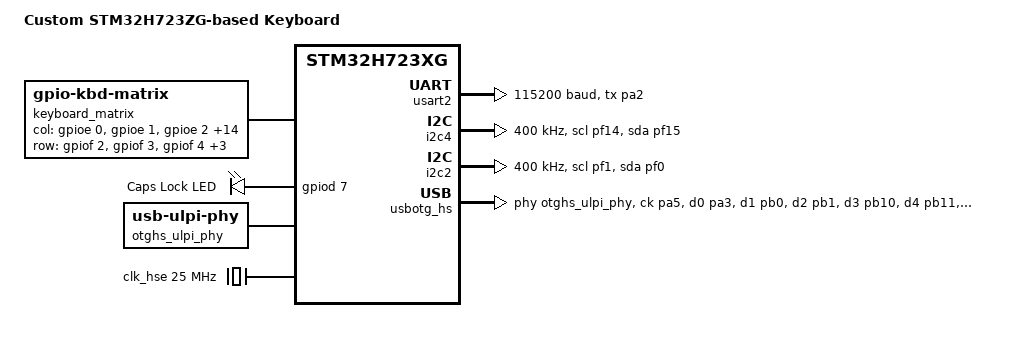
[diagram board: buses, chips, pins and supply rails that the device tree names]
/*
 * Copyright (c) 2026 Lawrence Langat <lawrencelangatmi@gmail.com>
 * SPDX-License-Identifier: Apache-2.0
 */

/dts-v1/;
#include <st/h7/stm32h723Xg.dtsi>
#include <st/h7/stm32h723zgtx-pinctrl.dtsi>
#include <zephyr/dt-bindings/input/input-event-codes.h>
#include <zephyr/dt-bindings/input/keymap.h>

/ {
	model = "Custom STM32H723ZG-based Keyboard";
	compatible = "generic,keyboard_h723zg";

	chosen {
		zephyr,console = &usart2;
		zephyr,shell-uart = &usart2;
		zephyr,sram = &sram0;
		zephyr,flash = &flash0;
		zephyr,dtcm = &dtcm;
	};

	keyboard_matrix: keyboard_matrix {
		compatible = "gpio-kbd-matrix";

		col-gpios = <&gpioe 0 GPIO_ACTIVE_HIGH>,
			    <&gpioe 1 GPIO_ACTIVE_HIGH>,
			    <&gpioe 2 GPIO_ACTIVE_HIGH>,
			    <&gpioe 3 GPIO_ACTIVE_HIGH>,
			    <&gpioe 4 GPIO_ACTIVE_HIGH>,
			    <&gpioe 5 GPIO_ACTIVE_HIGH>,
			    <&gpioe 6 GPIO_ACTIVE_HIGH>,
			    <&gpioe 7 GPIO_ACTIVE_HIGH>,
			    <&gpioe 8 GPIO_ACTIVE_HIGH>,
			    <&gpioe 9 GPIO_ACTIVE_HIGH>,
			    <&gpioe 10 GPIO_ACTIVE_HIGH>,
			    <&gpioe 11 GPIO_ACTIVE_HIGH>,
			    <&gpioe 12 GPIO_ACTIVE_HIGH>,
			    <&gpioe 13 GPIO_ACTIVE_HIGH>,
			    <&gpioe 14 GPIO_ACTIVE_HIGH>,
			    <&gpioe 15 GPIO_ACTIVE_HIGH>,
			    <&gpiof 13 GPIO_ACTIVE_HIGH>;

		row-gpios = <&gpiof 2 (GPIO_PULL_DOWN | GPIO_ACTIVE_HIGH)>,
			    <&gpiof 3 (GPIO_PULL_DOWN | GPIO_ACTIVE_HIGH)>,
			    <&gpiof 4 (GPIO_PULL_DOWN | GPIO_ACTIVE_HIGH)>,
			    <&gpiof 5 (GPIO_PULL_DOWN | GPIO_ACTIVE_HIGH)>,
			    <&gpiof 10 (GPIO_PULL_DOWN | GPIO_ACTIVE_HIGH)>,
			    <&gpiof 11 (GPIO_PULL_DOWN | GPIO_ACTIVE_HIGH)>;

		/* Use polling mode - required for STM32 with limited interrupt support */
		idle-mode = "poll";
		poll-period-ms = <5>;
		debounce-down-ms = <10>;
		debounce-up-ms = <20>;
		col-drive-inactive;
		no-ghostkey-check;

		keymap {
			compatible = "input-keymap";
			row-size = <6>;
			col-size = <17>;

			/*
			 * Keymap based on ZMK matrix transform:
			 * Row 0: Esc, F1-F12, (gap at 13), PrtSc, ScrLk, Pause
			 * Row 1: `, 1-0, -, =, Backspace, Ins, Home, PgUp
			 * Row 2: Tab, Q-P, [, ], \, Del, End, PgDn
			 * Row 3: CapsLock, A-L, ;, ', Enter
			 * Row 4: LShift, Z-M, ,, ., /, RShift, (gap), Up
			 * Row 5: LCtrl, LWin, LAlt, (gaps), Space, (gaps), RAlt, RWin, Menu, RCtrl, Left, Down, Right
			 */
			keymap = <
				/* Row 0: Function row */
				MATRIX_KEY(0, 0, INPUT_KEY_ESC)
				MATRIX_KEY(0, 1, INPUT_KEY_F1)
				MATRIX_KEY(0, 2, INPUT_KEY_F2)
				MATRIX_KEY(0, 3, INPUT_KEY_F3)
				MATRIX_KEY(0, 4, INPUT_KEY_F4)
				MATRIX_KEY(0, 5, INPUT_KEY_F5)
				MATRIX_KEY(0, 6, INPUT_KEY_F6)
				MATRIX_KEY(0, 7, INPUT_KEY_F7)
				MATRIX_KEY(0, 8, INPUT_KEY_F8)
				MATRIX_KEY(0, 9, INPUT_KEY_F9)
				MATRIX_KEY(0, 10, INPUT_KEY_F10)
				MATRIX_KEY(0, 11, INPUT_KEY_F11)
				MATRIX_KEY(0, 12, INPUT_KEY_F12)
				/* Col 13 is gap */
				MATRIX_KEY(0, 14, INPUT_KEY_SYSRQ)
				MATRIX_KEY(0, 15, INPUT_KEY_SCROLLLOCK)
				MATRIX_KEY(0, 16, INPUT_KEY_PAUSE)

				/* Row 1: Number row */
				MATRIX_KEY(1, 0, INPUT_KEY_GRAVE)
				MATRIX_KEY(1, 1, INPUT_KEY_1)
				MATRIX_KEY(1, 2, INPUT_KEY_2)
				MATRIX_KEY(1, 3, INPUT_KEY_3)
				MATRIX_KEY(1, 4, INPUT_KEY_4)
				MATRIX_KEY(1, 5, INPUT_KEY_5)
				MATRIX_KEY(1, 6, INPUT_KEY_6)
				MATRIX_KEY(1, 7, INPUT_KEY_7)
				MATRIX_KEY(1, 8, INPUT_KEY_8)
				MATRIX_KEY(1, 9, INPUT_KEY_9)
				MATRIX_KEY(1, 10, INPUT_KEY_0)
				MATRIX_KEY(1, 11, INPUT_KEY_MINUS)
				MATRIX_KEY(1, 12, INPUT_KEY_EQUAL)
				MATRIX_KEY(1, 13, INPUT_KEY_BACKSPACE)
				MATRIX_KEY(1, 14, INPUT_KEY_INSERT)
				MATRIX_KEY(1, 15, INPUT_KEY_HOME)
				MATRIX_KEY(1, 16, INPUT_KEY_PAGEUP)

				/* Row 2: QWERTY row */
				MATRIX_KEY(2, 0, INPUT_KEY_TAB)
				MATRIX_KEY(2, 1, INPUT_KEY_Q)
				MATRIX_KEY(2, 2, INPUT_KEY_W)
				MATRIX_KEY(2, 3, INPUT_KEY_E)
				MATRIX_KEY(2, 4, INPUT_KEY_R)
				MATRIX_KEY(2, 5, INPUT_KEY_T)
				MATRIX_KEY(2, 6, INPUT_KEY_Y)
				MATRIX_KEY(2, 7, INPUT_KEY_U)
				MATRIX_KEY(2, 8, INPUT_KEY_I)
				MATRIX_KEY(2, 9, INPUT_KEY_O)
				MATRIX_KEY(2, 10, INPUT_KEY_P)
				MATRIX_KEY(2, 11, INPUT_KEY_LEFTBRACE)
				MATRIX_KEY(2, 12, INPUT_KEY_RIGHTBRACE)
				MATRIX_KEY(2, 13, INPUT_KEY_BACKSLASH)
				MATRIX_KEY(2, 14, INPUT_KEY_DELETE)
				MATRIX_KEY(2, 15, INPUT_KEY_END)
				MATRIX_KEY(2, 16, INPUT_KEY_PAGEDOWN)

				/* Row 3: Home row */
				MATRIX_KEY(3, 0, INPUT_KEY_CAPSLOCK)
				MATRIX_KEY(3, 1, INPUT_KEY_A)
				MATRIX_KEY(3, 2, INPUT_KEY_S)
				MATRIX_KEY(3, 3, INPUT_KEY_D)
				MATRIX_KEY(3, 4, INPUT_KEY_F)
				MATRIX_KEY(3, 5, INPUT_KEY_G)
				MATRIX_KEY(3, 6, INPUT_KEY_H)
				MATRIX_KEY(3, 7, INPUT_KEY_J)
				MATRIX_KEY(3, 8, INPUT_KEY_K)
				MATRIX_KEY(3, 9, INPUT_KEY_L)
				MATRIX_KEY(3, 10, INPUT_KEY_SEMICOLON)
				MATRIX_KEY(3, 11, INPUT_KEY_APOSTROPHE)
				MATRIX_KEY(3, 12, INPUT_KEY_ENTER)

				/* Row 4: Shift row */
				MATRIX_KEY(4, 0, INPUT_KEY_LEFTSHIFT)
				MATRIX_KEY(4, 1, INPUT_KEY_Z)
				MATRIX_KEY(4, 2, INPUT_KEY_X)
				MATRIX_KEY(4, 3, INPUT_KEY_C)
				MATRIX_KEY(4, 4, INPUT_KEY_V)
				MATRIX_KEY(4, 5, INPUT_KEY_B)
				MATRIX_KEY(4, 6, INPUT_KEY_N)
				MATRIX_KEY(4, 7, INPUT_KEY_M)
				MATRIX_KEY(4, 8, INPUT_KEY_COMMA)
				MATRIX_KEY(4, 9, INPUT_KEY_DOT)
				MATRIX_KEY(4, 10, INPUT_KEY_SLASH)
				MATRIX_KEY(4, 11, INPUT_KEY_RIGHTSHIFT)
				MATRIX_KEY(4, 12, INPUT_KEY_RIGHTSHIFT)
				/* Col 13, 14 are gaps */
				MATRIX_KEY(4, 15, INPUT_KEY_UP)

				/* Row 5: Bottom row */
				MATRIX_KEY(5, 0, INPUT_KEY_LEFTCTRL)
				MATRIX_KEY(5, 1, INPUT_KEY_LEFTMETA)
				MATRIX_KEY(5, 2, INPUT_KEY_LEFTALT)
				/* Cols 3-5 are gaps under space */
				MATRIX_KEY(5, 6, INPUT_KEY_SPACE)
				/* Cols 7-9 are gaps under space */
				MATRIX_KEY(5, 10, INPUT_KEY_RIGHTALT)
				MATRIX_KEY(5, 11, INPUT_KEY_RIGHTMETA)
				MATRIX_KEY(5, 12, INPUT_KEY_COMPOSE)
				MATRIX_KEY(5, 13, INPUT_KEY_RIGHTCTRL)
				MATRIX_KEY(5, 14, INPUT_KEY_LEFT)
				MATRIX_KEY(5, 15, INPUT_KEY_DOWN)
				MATRIX_KEY(5, 16, INPUT_KEY_RIGHT)
			>;
		};
	};

    leds {
        compatible = "gpio-leds";
        caps_lock_led: led_caps {
            gpios = <&gpiod 7 GPIO_ACTIVE_HIGH>;
            label = "Caps Lock LED";
        };
    };

	otghs_ulpi_phy: otghs_ulpis_phy {
		compatible = "usb-ulpi-phy";
		#phy-cells = <0>;
	};

	aliases {
		led0 = &caps_lock_led;
	};
};

&clk_lsi {
	status = "okay";
};

&clk_hse {
	clock-frequency = <DT_FREQ_M(25)>;
	status = "okay";
};

&clk_hsi48 {
	status = "okay";
};

&pll {
	div-m = <5>;
	mul-n = <110>;
	div-p = <1>;
	div-q = <5>;
	div-r = <2>;
	clocks = <&clk_hse>;
	status = "okay";
};

&rcc {
	clocks = <&pll>;
	clock-frequency = <DT_FREQ_M(550)>;
	d1cpre = <1>;
	hpre = <2>;    /* HCLK: 275   MHz */
	d1ppre = <2>;  /* APB1: 137.5 MHz */
	d2ppre1 = <2>; /* APB2: 137.5 MHz */
	d2ppre2 = <2>; /* APB3: 137.5 MHz */
	d3ppre = <2>;  /* APB4: 137.5 MHz */
};

&pwr {
	power-supply = "ldo";
};

&usart2 {
	pinctrl-0 = <&usart2_tx_pa2>;
	pinctrl-names = "default";
	current-speed = <115200>;
	status = "okay";
};

&rtc {
	status = "disabled";
};

&i2c4 {
	pinctrl-0 = <&i2c4_scl_pf14 &i2c4_sda_pf15>;
	pinctrl-names = "default";
	status = "okay";
	clock-frequency = <I2C_BITRATE_FAST>;
};

&i2c2 {
	pinctrl-0 = <&i2c2_scl_pf1 &i2c2_sda_pf0>;
	pinctrl-names = "default";
	status = "okay";
	clock-frequency = <I2C_BITRATE_FAST>;
};

zephyr_udc0: &usbotg_hs {
	status = "okay";
	pinctrl-0 = <&usb_otg_hs_ulpi_ck_pa5
		     &usb_otg_hs_ulpi_d0_pa3
		     &usb_otg_hs_ulpi_d1_pb0
		     &usb_otg_hs_ulpi_d2_pb1
		     &usb_otg_hs_ulpi_d3_pb10
		     &usb_otg_hs_ulpi_d4_pb11
		     &usb_otg_hs_ulpi_d5_pb12
		     &usb_otg_hs_ulpi_d6_pb13
		     &usb_otg_hs_ulpi_d7_pb5
		     &usb_otg_hs_ulpi_stp_pc0
		     &usb_otg_hs_ulpi_dir_pc2_c
		     &usb_otg_hs_ulpi_nxt_pc3_c>;
	pinctrl-names = "default";
	maximum-speed = "high-speed";
	/* Enable OTGHSULPIEN rather than OTGHSEN */
	clocks = <&rcc STM32_CLOCK_BUS_AHB1 0x6000000>,
		 <&rcc STM32_SRC_HSI48 USB_SEL(3)>;
	phys = <&otghs_ulpi_phy>;
	status = "okay";
};
